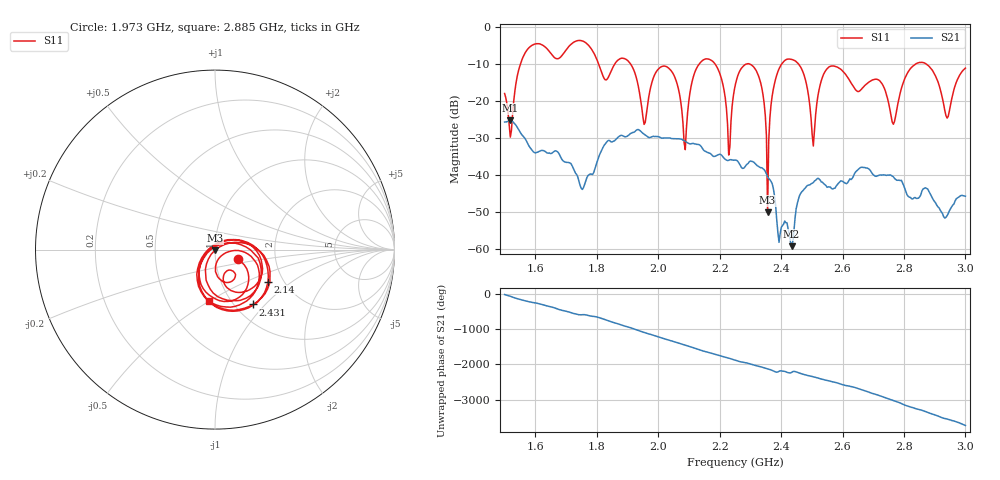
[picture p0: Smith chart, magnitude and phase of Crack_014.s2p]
# HZ S RI R 50
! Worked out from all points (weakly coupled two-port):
!   404 points, 1.5 GHz to 3 GHz, reference 50 ohm
!   highest |S21| = -25.11 dB at 1.519 GHz (marker M1); lowest = -59.1 dB at 2.434 GHz (marker M2)
!   lowest |S11| = -49.9 dB at 2.356 GHz (marker M3), VSWR 1.01, Z = 50 - j0.318 ohm
!   |S11| at or under -10 dB: 1.911 GHz to 2.133 GHz (221.6 MHz wide, 11 % of centre); 2.458 GHz to 2.837 GHz (378.7 MHz wide, 14.3 % of centre); 2.874 GHz to end of sweep (the widest 3 of 7)
!   S12 and S22 are empty: the file has one direction only
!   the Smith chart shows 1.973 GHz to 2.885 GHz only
!   S11 on the Smith chart (normalised r, x): 1.973 GHz: 1.28, -0.14; 2.14 GHz: 1.67, -0.67; 2.431 GHz: 1.21, -0.86; 2.885 GHz: 0.79, -0.50
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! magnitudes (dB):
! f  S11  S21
! 1.5 GHz  -17.9  -25.6
! 1.519 GHz  -29.7  -25.1
! 1.578 GHz  -5.6  -31.9
! 1.753 GHz  -3.7  -43.8
! 1.973 GHz  -17.2  -29.8
! 2.002 GHz  -11.1  -29.6
! 2.088 GHz  -33.0  -30.8
! 2.14 GHz  -9.2  -32.2
! 2.196 GHz  -11.5  -34.4
! 2.23 GHz  -34.5  -35.9
! 2.252 GHz  -15.2  -35.8
! 2.319 GHz  -11.6  -37.1
! 2.356 GHz  -49.9  -40.3
! 2.382 GHz  -14.0  -48.0
! 2.431 GHz  -8.6  -58.0
! 2.434 GHz  -8.6  -59.1
! 2.501 GHz  -29.0  -42.1
! 2.565 GHz  -10.4  -43.5
! 2.751 GHz  -20.7  -39.9
! 2.885 GHz  -10.8  -44.8
! 2.94 GHz  -24.5  -50.9
! 3 GHz  -11.0  -45.6
